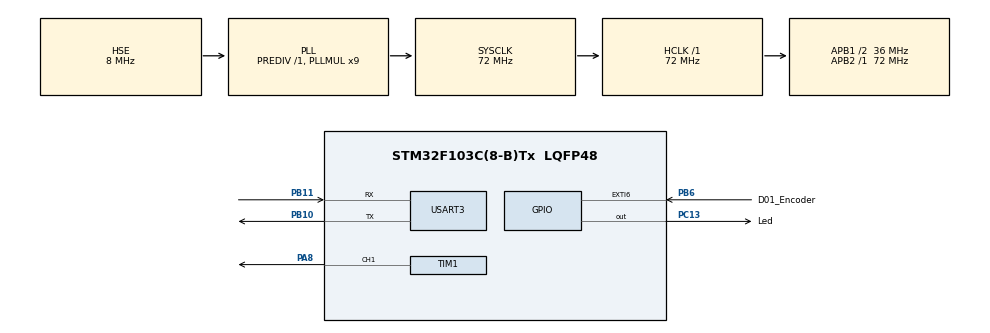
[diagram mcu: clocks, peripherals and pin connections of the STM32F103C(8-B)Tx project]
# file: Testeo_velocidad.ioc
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Mcu.Family=STM32F1
Mcu.Name=STM32F103C(8-B)Tx
Mcu.Package=LQFP48
NVIC.EXTI9_5_IRQn=true\:0\:0\:false\:false\:true\:true\:true
NVIC.PriorityGroup=NVIC_PRIORITYGROUP_4
NVIC.TIM2_IRQn=true\:0\:0\:false\:false\:true\:true\:true
PA13.Mode=Serial_Wire
PA13.Signal=SYS_JTMS-SWDIO
PA14.Mode=Serial_Wire
PA14.Signal=SYS_JTCK-SWCLK
PA8.Signal=S_TIM1_CH1
PB10.Mode=Asynchronous
PB10.Signal=USART3_TX
PB11.Mode=Asynchronous
PB11.Signal=USART3_RX
PB6.GPIO_Label=D01_Encoder
PB6.Signal=GPXTI6
PC13-TAMPER-RTC.GPIO_Label=Led
PC13-TAMPER-RTC.Signal=GPIO_Output
PD0-OSC_IN.Mode=HSE-External-Oscillator
PD0-OSC_IN.Signal=RCC_OSC_IN
PD1-OSC_OUT.Mode=HSE-External-Oscillator
PD1-OSC_OUT.Signal=RCC_OSC_OUT
ProjectManager.HeapSize=0x200
ProjectManager.StackSize=0x400
ProjectManager.TargetToolchain=STM32CubeIDE
RCC.AHBFreq_Value=72000000
RCC.APB1CLKDivider=RCC_HCLK_DIV2
RCC.APB1Freq_Value=36000000
RCC.APB1TimFreq_Value=72000000
RCC.APB2Freq_Value=72000000
RCC.APB2TimFreq_Value=72000000
RCC.HCLKFreq_Value=72000000
RCC.PLLMUL=RCC_PLL_MUL9
RCC.PLLSourceVirtual=RCC_PLLSOURCE_HSE
RCC.SYSCLKFreq_VALUE=72000000
RCC.SYSCLKSource=RCC_SYSCLKSOURCE_PLLCLK
RCC.USBFreq_Value=72000000
SH.S_TIM1_CH1.0=TIM1_CH1,PWM Generation1 CH1
TIM1.AutoReloadPreload=TIM_AUTORELOAD_PRELOAD_ENABLE
TIM1.Channel-PWM\ Generation1\ CH1=TIM_CHANNEL_1
TIM1.Period=10000-1
TIM1.Prescaler=72-1
TIM2.AutoReloadPreload=TIM_AUTORELOAD_PRELOAD_ENABLE
TIM2.Period=50000-1
TIM2.Prescaler=1440-1
USART3.VirtualMode=VM_ASYNC
VP_TIM1_VS_ClockSourceINT.Mode=Internal
VP_TIM2_VS_ClockSourceINT.Mode=Internal
board=custom

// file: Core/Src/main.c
/* USER CODE BEGIN Header */
/**
 ******************************************************************************
 * @file           : main.c
 * @brief          : Main program body
 ******************************************************************************
 * @attention
 *
 * Copyright (c) 2022 STMicroelectronics.
 * All rights reserved.
 *
 * This software is licensed under terms that can be found in the LICENSE file
 * in the root directory of this software component.
 * If no LICENSE file comes with this software, it is provided AS-IS.
 *
 ******************************************************************************
 */
/* USER CODE END Header */
#include "main.h"

/* USER CODE BEGIN Includes */
#include "string.h"
#include "stdio.h"
#include "stdlib.h"
/* USER CODE END Includes */

TIM_HandleTypeDef htim1;
TIM_HandleTypeDef htim2;

UART_HandleTypeDef huart3;

void SystemClock_Config(void);
static void MX_GPIO_Init(void);
static void MX_TIM2_Init(void);
static void MX_TIM1_Init(void);
static void MX_USART3_UART_Init(void);

/* USER CODE BEGIN 0 */

float velocidad = 0;
float velocidad_prima1,velocidad_prima2;
uint32_t ticksPrev = 0;
uint32_t ticksNow = 0;
uint32_t overflow = 0; // Cantidad de desbordes del timer
uint64_t deltaTicks = 0;
uint32_t ranuras = 21;
uint32_t cantTicksTmr2 = 50000;
uint64_t fsTmr2= 50000;
uint64_t tickFilter = 625;

char *prt;

void Variar_CCR(){

	htim1.Instance->CCR1 += 200;
	if(htim1.Instance->CCR1==10000){
		htim1.Instance->CCR1 = 0;
	}
}
void HAL_GPIO_EXTI_Callback (uint16_t GPIO_Pin){
	if (GPIO_Pin == D01_Encoder_Pin){

		uint32_t ticksAux = 0;
		ticksAux = ticksPrev;
		ticksPrev = ticksNow;
		ticksNow = __HAL_TIM_GetCounter(&htim2);

		if (overflow == 0){
			// Todo cool, calculo normal
			deltaTicks = (uint64_t)(ticksNow - ticksPrev);
			if (deltaTicks > tickFilter){
				velocidad = ((1/(float)ranuras)/((float)deltaTicks/(float)fsTmr2));

				//Filtro IIR
				velocidad_prima2 = velocidad_prima1;
				velocidad_prima1 = 0.9*velocidad_prima2 + 0.1*velocidad;
				HAL_GPIO_TogglePin(Led_GPIO_Port, Led_Pin);
			}
			else{
				ticksNow = ticksPrev;
				ticksPrev = ticksAux;
			}
		} else{
			// Tuve algun desborde y tengo que tenerlo en cuenta
			deltaTicks = (uint64_t)(ticksNow + overflow * cantTicksTmr2)- ticksPrev;
			if (deltaTicks > tickFilter){
				velocidad = ((1/(float)ranuras)/((float)deltaTicks/(float)fsTmr2));

				//Filtro IIR
				velocidad_prima2 = velocidad_prima1;
				velocidad_prima1 = 0.9*velocidad_prima2 + 0.1*velocidad;
				HAL_GPIO_TogglePin(Led_GPIO_Port, Led_Pin);

				overflow = 0;
			}
			else{
				HAL_GPIO_TogglePin(Led_GPIO_Port, Led_Pin);
				ticksNow = ticksPrev;
				ticksPrev = ticksAux;
			}
		}
	}

}
/* USER CODE END 0 */

int main(void)
{

  /* MCU Configuration--------------------------------------------------------*/

  /* Reset of all peripherals, Initializes the Flash interface and the Systick. */
  HAL_Init();

  /* Configure the system clock */
  SystemClock_Config();

  /* Initialize all configured peripherals */
  MX_GPIO_Init();
  MX_TIM2_Init();
  MX_TIM1_Init();
  MX_USART3_UART_Init();
  /* USER CODE BEGIN 2 */
  HAL_TIM_Base_Start_IT(&htim2);
	HAL_TIM_PWM_Start(&htim1, TIM_CHANNEL_1);
	HAL_UART_Transmit(&huart3, (uint8_t*)"V\n", 3*sizeof(char), HAL_MAX_DELAY);
  /* USER CODE END 2 */

  /* Infinite loop */
	while (1)
	{

    /* USER CODE BEGIN 3 */

		prt=malloc(100*sizeof(char));
		sprintf(prt,"%f\n",velocidad_prima1);
		HAL_UART_Transmit(&huart3, (uint8_t*)prt, strlen(prt), HAL_MAX_DELAY);
		free(prt);
		if(overflow >=1){
			velocidad = 0;
			velocidad_prima1 = 0;
		}
		Variar_CCR();

		HAL_Delay(50);

	}
  /* USER CODE END 3 */
}

void SystemClock_Config(void)
{
  RCC_OscInitTypeDef RCC_OscInitStruct = {0};
  RCC_ClkInitTypeDef RCC_ClkInitStruct = {0};

  /** Initializes the RCC Oscillators according to the specified parameters
  * in the RCC_OscInitTypeDef structure.
  */
  RCC_OscInitStruct.OscillatorType = RCC_OSCILLATORTYPE_HSE;
  RCC_OscInitStruct.HSEState = RCC_HSE_ON;
  RCC_OscInitStruct.HSEPredivValue = RCC_HSE_PREDIV_DIV1;
  RCC_OscInitStruct.HSIState = RCC_HSI_ON;
  RCC_OscInitStruct.PLL.PLLState = RCC_PLL_ON;
  RCC_OscInitStruct.PLL.PLLSource = RCC_PLLSOURCE_HSE;
  RCC_OscInitStruct.PLL.PLLMUL = RCC_PLL_MUL9;
  if (HAL_RCC_OscConfig(&RCC_OscInitStruct) != HAL_OK)
  {
    Error_Handler();
  }
  /** Initializes the CPU, AHB and APB buses clocks
  */
  RCC_ClkInitStruct.ClockType = RCC_CLOCKTYPE_HCLK|RCC_CLOCKTYPE_SYSCLK
                              |RCC_CLOCKTYPE_PCLK1|RCC_CLOCKTYPE_PCLK2;
  RCC_ClkInitStruct.SYSCLKSource = RCC_SYSCLKSOURCE_PLLCLK;
  RCC_ClkInitStruct.AHBCLKDivider = RCC_SYSCLK_DIV1;
  RCC_ClkInitStruct.APB1CLKDivider = RCC_HCLK_DIV2;
  RCC_ClkInitStruct.APB2CLKDivider = RCC_HCLK_DIV1;

  if (HAL_RCC_ClockConfig(&RCC_ClkInitStruct, FLASH_LATENCY_2) != HAL_OK)
  {
    Error_Handler();
  }
}

static void MX_TIM1_Init(void)
{

  TIM_ClockConfigTypeDef sClockSourceConfig = {0};
  TIM_MasterConfigTypeDef sMasterConfig = {0};
  TIM_OC_InitTypeDef sConfigOC = {0};
  TIM_BreakDeadTimeConfigTypeDef sBreakDeadTimeConfig = {0};

  htim1.Instance = TIM1;
  htim1.Init.Prescaler = 72-1;
  htim1.Init.CounterMode = TIM_COUNTERMODE_UP;
  htim1.Init.Period = 10000-1;
  htim1.Init.ClockDivision = TIM_CLOCKDIVISION_DIV1;
  htim1.Init.RepetitionCounter = 0;
  htim1.Init.AutoReloadPreload = TIM_AUTORELOAD_PRELOAD_ENABLE;
  if (HAL_TIM_Base_Init(&htim1) != HAL_OK)
  {
    Error_Handler();
  }
  sClockSourceConfig.ClockSource = TIM_CLOCKSOURCE_INTERNAL;
  if (HAL_TIM_ConfigClockSource(&htim1, &sClockSourceConfig) != HAL_OK)
  {
    Error_Handler();
  }
  if (HAL_TIM_PWM_Init(&htim1) != HAL_OK)
  {
    Error_Handler();
  }
  sMasterConfig.MasterOutputTrigger = TIM_TRGO_RESET;
  sMasterConfig.MasterSlaveMode = TIM_MASTERSLAVEMODE_DISABLE;
  if (HAL_TIMEx_MasterConfigSynchronization(&htim1, &sMasterConfig) != HAL_OK)
  {
    Error_Handler();
  }
  sConfigOC.OCMode = TIM_OCMODE_PWM1;
  sConfigOC.Pulse = 0;
  sConfigOC.OCPolarity = TIM_OCPOLARITY_HIGH;
  sConfigOC.OCNPolarity = TIM_OCNPOLARITY_HIGH;
  sConfigOC.OCFastMode = TIM_OCFAST_DISABLE;
  sConfigOC.OCIdleState = TIM_OCIDLESTATE_RESET;
  sConfigOC.OCNIdleState = TIM_OCNIDLESTATE_RESET;
  if (HAL_TIM_PWM_ConfigChannel(&htim1, &sConfigOC, TIM_CHANNEL_1) != HAL_OK)
  {
    Error_Handler();
  }
  sBreakDeadTimeConfig.OffStateRunMode = TIM_OSSR_DISABLE;
  sBreakDeadTimeConfig.OffStateIDLEMode = TIM_OSSI_DISABLE;
  sBreakDeadTimeConfig.LockLevel = TIM_LOCKLEVEL_OFF;
  sBreakDeadTimeConfig.DeadTime = 0;
  sBreakDeadTimeConfig.BreakState = TIM_BREAK_DISABLE;
  sBreakDeadTimeConfig.BreakPolarity = TIM_BREAKPOLARITY_HIGH;
  sBreakDeadTimeConfig.AutomaticOutput = TIM_AUTOMATICOUTPUT_DISABLE;
  if (HAL_TIMEx_ConfigBreakDeadTime(&htim1, &sBreakDeadTimeConfig) != HAL_OK)
  {
    Error_Handler();
  }
  HAL_TIM_MspPostInit(&htim1);

}

static void MX_TIM2_Init(void)
{

  TIM_ClockConfigTypeDef sClockSourceConfig = {0};
  TIM_MasterConfigTypeDef sMasterConfig = {0};

  htim2.Instance = TIM2;
  htim2.Init.Prescaler = 1440-1;
  htim2.Init.CounterMode = TIM_COUNTERMODE_UP;
  htim2.Init.Period = 50000-1;
  htim2.Init.ClockDivision = TIM_CLOCKDIVISION_DIV1;
  htim2.Init.AutoReloadPreload = TIM_AUTORELOAD_PRELOAD_ENABLE;
  if (HAL_TIM_Base_Init(&htim2) != HAL_OK)
  {
    Error_Handler();
  }
  sClockSourceConfig.ClockSource = TIM_CLOCKSOURCE_INTERNAL;
  if (HAL_TIM_ConfigClockSource(&htim2, &sClockSourceConfig) != HAL_OK)
  {
    Error_Handler();
  }
  sMasterConfig.MasterOutputTrigger = TIM_TRGO_RESET;
  sMasterConfig.MasterSlaveMode = TIM_MASTERSLAVEMODE_DISABLE;
  if (HAL_TIMEx_MasterConfigSynchronization(&htim2, &sMasterConfig) != HAL_OK)
  {
    Error_Handler();
  }

}

static void MX_USART3_UART_Init(void)
{

  huart3.Instance = USART3;
  huart3.Init.BaudRate = 115200;
  huart3.Init.WordLength = UART_WORDLENGTH_8B;
  huart3.Init.StopBits = UART_STOPBITS_1;
  huart3.Init.Parity = UART_PARITY_NONE;
  huart3.Init.Mode = UART_MODE_TX_RX;
  huart3.Init.HwFlowCtl = UART_HWCONTROL_NONE;
  huart3.Init.OverSampling = UART_OVERSAMPLING_16;
  if (HAL_UART_Init(&huart3) != HAL_OK)
  {
    Error_Handler();
  }

}

static void MX_GPIO_Init(void)
{
  GPIO_InitTypeDef GPIO_InitStruct = {0};

  /* GPIO Ports Clock Enable */
  __HAL_RCC_GPIOC_CLK_ENABLE();
  __HAL_RCC_GPIOD_CLK_ENABLE();
  __HAL_RCC_GPIOB_CLK_ENABLE();
  __HAL_RCC_GPIOA_CLK_ENABLE();

  /*Configure GPIO pin Output Level */
  HAL_GPIO_WritePin(Led_GPIO_Port, Led_Pin, GPIO_PIN_RESET);

  /*Configure GPIO pin : Led_Pin */
  GPIO_InitStruct.Pin = Led_Pin;
  GPIO_InitStruct.Mode = GPIO_MODE_OUTPUT_PP;
  GPIO_InitStruct.Pull = GPIO_NOPULL;
  GPIO_InitStruct.Speed = GPIO_SPEED_FREQ_LOW;
  HAL_GPIO_Init(Led_GPIO_Port, &GPIO_InitStruct);

  /*Configure GPIO pin : D01_Encoder_Pin */
  GPIO_InitStruct.Pin = D01_Encoder_Pin;
  GPIO_InitStruct.Mode = GPIO_MODE_IT_RISING;
  GPIO_InitStruct.Pull = GPIO_NOPULL;
  HAL_GPIO_Init(D01_Encoder_GPIO_Port, &GPIO_InitStruct);

  /* EXTI interrupt init*/
  HAL_NVIC_SetPriority(EXTI9_5_IRQn, 0, 0);
  HAL_NVIC_EnableIRQ(EXTI9_5_IRQn);

}

/* USER CODE BEGIN 4 */
void HAL_TIM_PeriodElapsedCallback(TIM_HandleTypeDef *htim)
{
  /* USER CODE BEGIN Callback 0 */
  /* USER CODE END Callback 0 */
  /* USER CODE BEGIN Callback 1 */
  if(htim->Instance == TIM2){
	 overflow += 1;
  }
  /* USER CODE END Callback 1 */
}
/* USER CODE END 4 */

void Error_Handler(void)
{
	__disable_irq();
	while (1)
	{
	}
}
